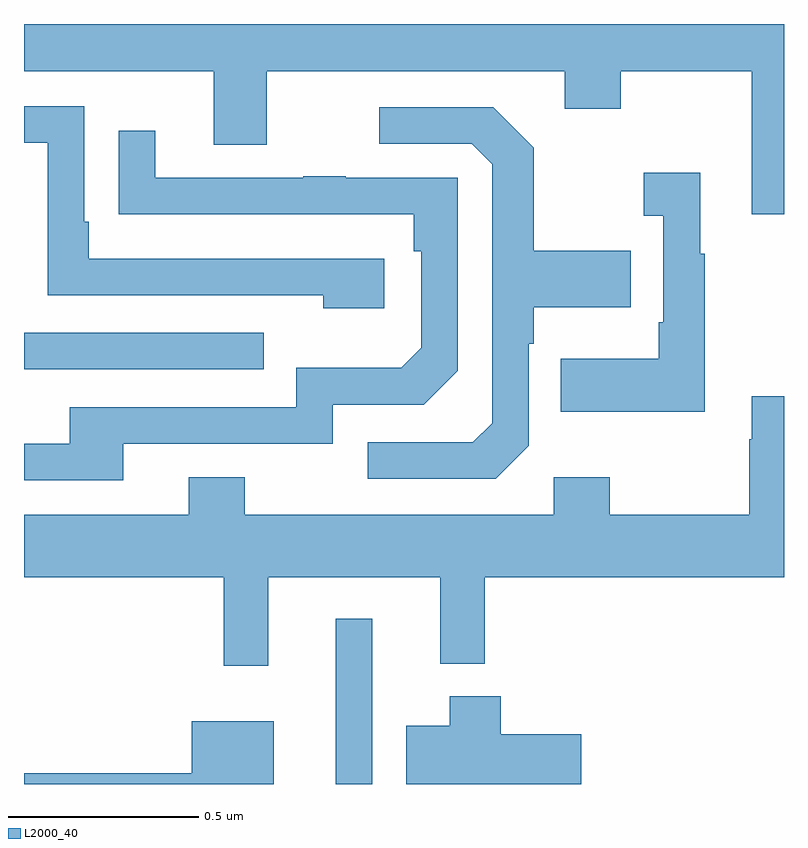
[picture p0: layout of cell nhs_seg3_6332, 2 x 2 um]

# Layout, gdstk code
import gdstk
lib = gdstk.Library(unit=1e-6, precision=1e-09)
def R(c, l, rs):  # rectangles x0, y0, x1, y1
    for r in rs: c.add(gdstk.rectangle(r[:2], r[2:], *l))
def P(c, l, *ps):  # polygons
    for p in ps: c.add(gdstk.Polygon(p, *l))
L2000_40 = (2000, 40)

nhs_seg3_6332 = lib.new_cell('nhs_seg3_6332')
R(nhs_seg3_6332, L2000_40, [(190.82,672.4,190.917,672.835), (190,673.491,190.631,673.587)])
P(nhs_seg3_6332, L2000_40, [(192,674.4),(190,674.4),(190,674.276),(190.499,674.276),(190.499,674.082),(190.639,674.082),(190.639,674.276),(191.423,674.276),(191.423,674.177),(191.571,674.177),(191.571,674.276),(191.915,674.276),(191.915,673.899),(192,673.899)],
  [(190.948,673.782),(190.171,673.782),(190.171,673.879),(190.158,673.879),(190.158,674.184),(190,674.184),(190,674.088),(190.062,674.088),(190.062,673.686),(190.787,673.686),(190.787,673.652),(190.948,673.652)],
  [(191.328,673.29),(191.328,673.559),(191.341,673.559),(191.341,673.655),(191.597,673.655),(191.597,673.803),(191.341,673.803),(191.341,674.075),(191.235,674.181),(190.935,674.181),(190.935,674.085),(191.178,674.085),(191.232,674.031),(191.232,673.35),(191.181,673.299),(190.905,673.299),(190.905,673.203),(191.241,673.203)],
  [(190.261,673.296),(190.812,673.296),(190.812,673.398),(191.052,673.398),(191.142,673.488),(191.142,673.995),(190.847,673.995),(190.847,674),(190.735,674),(190.735,673.995),(190.345,673.995),(190.345,674.119),(190.249,674.119),(190.249,673.9),(190.351,673.9),(190.351,673.899),(191.026,673.899),(191.026,673.802),(191.046,673.802),(191.046,673.548),(190.993,673.495),(190.716,673.495),(190.716,673.392),(190.121,673.392),(190.121,673.296),(190,673.296),(190,673.2),(190.261,673.2)],
  [(191.791,673.795),(191.779,673.795),(191.779,674.008),(191.631,674.008),(191.631,673.895),(191.682,673.895),(191.682,673.615),(191.67,673.615),(191.67,673.519),(191.413,673.519),(191.413,673.379),(191.791,673.379)],
  [(190.643,672.944),(191.096,672.944),(191.096,672.716),(191.213,672.716),(191.213,672.944),(192,672.944),(192,673.42),(191.915,673.42),(191.915,673.307),(191.908,673.307),(191.908,673.108),(191.541,673.108),(191.541,673.207),(191.394,673.207),(191.394,673.108),(190.581,673.108),(190.581,673.207),(190.433,673.207),(190.433,673.108),(190,673.108),(190,672.944),(190.525,672.944),(190.525,672.711),(190.643,672.711)],
  [(191.467,672.531),(191.255,672.531),(191.255,672.631),(191.12,672.631),(191.12,672.553),(191.006,672.553),(191.006,672.4),(191.467,672.4)],
  [(190.657,672.565),(190.442,672.565),(190.442,672.428),(190,672.428),(190,672.4),(190.657,672.4)])

lib.write_gds('nhs_seg3_6332.gds')
